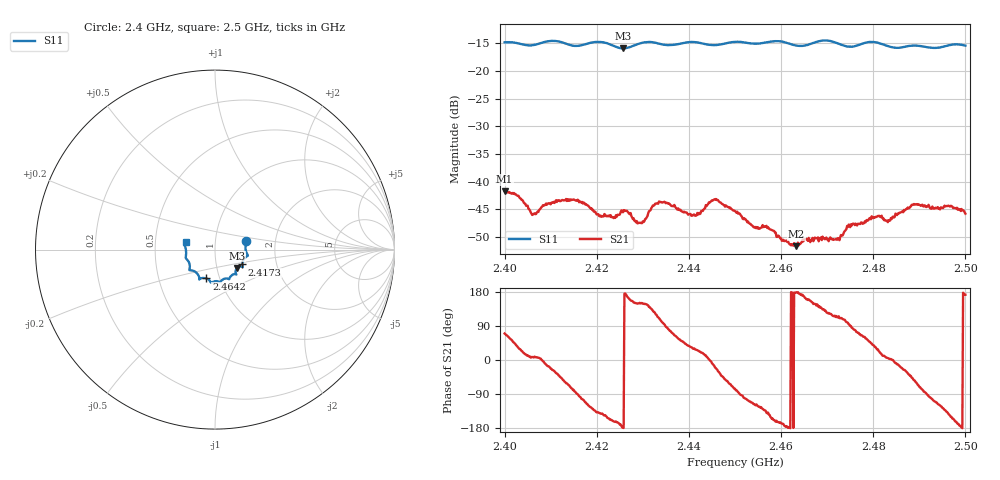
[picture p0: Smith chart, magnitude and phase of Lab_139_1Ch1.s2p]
# Hz S RI R 50
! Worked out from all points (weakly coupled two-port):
!   601 points, 2.4 GHz to 2.5 GHz, reference 50 ohm
!   highest |S21| = -41.75 dB at 2.4 GHz (marker M1); lowest = -51.7 dB at 2.4633 GHz (marker M2)
!   lowest |S11| = -15.9 dB at 2.4257 GHz (marker M3), VSWR 1.38, Z = 62.4 - j13.1 ohm
!   |S11| at or under -10 dB: start of sweep to end of sweep
!   S12 and S22 are empty: the file has one direction only
!   S11 on the Smith chart (normalised r, x): 2.4 GHz: 1.41, +0.14; 2.4173 GHz: 1.34, -0.23; 2.4642 GHz: 0.86, -0.29; 2.5 GHz: 0.72, +0.06
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2.4e9  0.1742 0.0492  0.0028 0.00768  0 0  0 0
2.4025e9  0.1749 0.0378  0.00591 0.00478  0 0  0 0
2.406333e9  0.1709 -0.00329  0.00506 0.000588  0 0  0 0
2.4115e9  0.1818 -0.0353  0.00543 -0.00403  0 0  0 0
2.416667e9  0.1528 -0.075  -0.00138 -0.00631  0 0  0 0
2.417333e9  0.1522 -0.0825  -0.00208 -0.00606  0 0  0 0
2.421e9  0.1544 -0.0964  -0.00377 -0.00299  0 0  0 0
2.425667e9  0.1223 -0.1026  -0.00528 -0.000104  0 0  0 0
2.429333e9  0.1163 -0.1336  -0.00371 0.00206  0 0  0 0
2.433333e9  0.1125 -0.1363  -0.00244 0.00581  0 0  0 0
2.441e9  0.0782 -0.1648  0.00437 0.00249  0 0  0 0
2.445833e9  0.048 -0.1642  0.00648 -0.00257  0 0  0 0
2.45e9  0.0294 -0.1806  0.00132 -0.00525  0 0  0 0
2.463333e9  -0.0393 -0.1645  -0.00261 4.85e-05  0 0  0 0
2.464167e9  -0.0481 -0.1609  -0.00273 0.000331  0 0  0 0
2.466667e9  -0.0762 -0.1595  -0.00264 0.00136  0 0  0 0
2.472167e9  -0.088 -0.1549  -0.00116 0.00275  0 0  0 0
2.474833e9  -0.105 -0.1277  -0.000219 0.00407  0 0  0 0
2.480167e9  -0.1427 -0.1133  0.00376 0.00295  0 0  0 0
2.483333e9  -0.1405 -0.0895  0.00448 0.000345  0 0  0 0
2.489e9  -0.1628 -0.0463  0.00364 -0.00501  0 0  0 0
2.5e9  -0.1638 0.0416  -0.00509 0.000695  0 0  0 0
